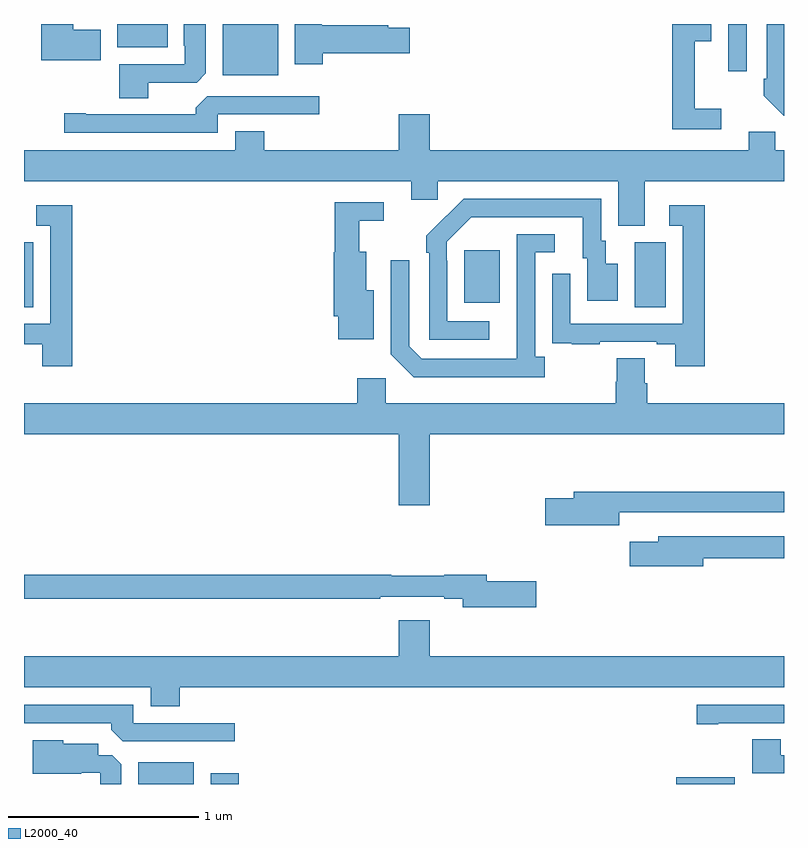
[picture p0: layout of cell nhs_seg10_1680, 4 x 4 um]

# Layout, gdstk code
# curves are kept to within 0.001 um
import gdstk
lib = gdstk.Library(unit=1e-6, precision=1e-09)
def R(c, l, rs):  # rectangles x0, y0, x1, y1
    for r in rs: c.add(gdstk.rectangle(r[:2], r[2:], *l))
def P(c, l, *ps):  # polygons
    for p in ps: c.add(gdstk.Polygon(p, *l))
L2000_40 = (2000, 40)

nhs_seg10_1680 = lib.new_cell('nhs_seg10_1680')
R(nhs_seg10_1680, L2000_40, [(199.601,1274.5,199.894,1274.614), (199.982,1274.5,200.129,1274.557), (202.433,1274.5,202.741,1274.536), (199,1277.008,199.048,1277.352), (202.214,1277.008,202.378,1277.352), (201.317,1277.033,201.505,1277.308), (200.045,1278.23,200.338,1278.5), (202.707,1278.252,202.803,1278.5), (199.49,1278.377,199.756,1278.5)])
P(nhs_seg10_1680, L2000_40, [(199.654,1278.192),(199.908,1278.192),(199.957,1278.241),(199.957,1278.5),(199.841,1278.5),(199.841,1278.385),(199.845,1278.385),(199.845,1278.288),(199.502,1278.288),(199.502,1278.109),(199.654,1278.109)],
  [(200.573,1278.347),(201.031,1278.347),(201.031,1278.481),(200.918,1278.481),(200.918,1278.494),(200.568,1278.494),(200.568,1278.5),(200.426,1278.5),(200.426,1278.288),(200.573,1278.288)],
  [(199.405,1278.471),(199.258,1278.471),(199.258,1278.5),(199.091,1278.5),(199.091,1278.308),(199.405,1278.308)],
  [(203,1278.5),(202.908,1278.5),(202.908,1278.211),(202.893,1278.211),(202.893,1278.123),(202.998,1278.018),(202.999,1278.019),(203,1278.018)],
  [(202.669,1278.055),(202.529,1278.055),(202.529,1278.41),(202.618,1278.41),(202.618,1278.5),(202.411,1278.5),(202.411,1277.946),(202.669,1277.946)],
  [(200.019,1278.024),(200.554,1278.024),(200.554,1278.12),(199.965,1278.12),(199.904,1278.058),(199.904,1278.024),(199.324,1278.024),(199.324,1278.029),(199.212,1278.029),(199.212,1277.928),(200.019,1277.928)],
  [(202.267,1277.672),(203,1277.672),(203,1277.836),(202.953,1277.836),(202.953,1277.934),(202.814,1277.934),(202.814,1277.836),(201.136,1277.836),(201.136,1278.025),(200.972,1278.025),(200.972,1277.836),(200.264,1277.836),(200.264,1277.935),(200.111,1277.935),(200.111,1277.836),(199,1277.836),(199,1277.672),(201.038,1277.672),(201.038,1277.574),(201.177,1277.574),(201.177,1277.672),(202.127,1277.672),(202.127,1277.437),(202.267,1277.437)],
  [(201.448,1276.935),(201.228,1276.935),(201.228,1277.255),(201.225,1277.255),(201.225,1277.355),(201.354,1277.484),(201.941,1277.484),(201.941,1277.268),(201.965,1277.268),(201.965,1277.043),(202.126,1277.043),(202.126,1277.239),(202.063,1277.239),(202.063,1277.358),(202.038,1277.358),(202.038,1277.58),(201.314,1277.58),(201.117,1277.385),(201.117,1277.297),(201.132,1277.297),(201.132,1276.839),(201.448,1276.839)],
  [(200.842,1277.098),(200.8,1277.098),(200.8,1277.302),(200.764,1277.302),(200.764,1277.465),(200.893,1277.465),(200.893,1277.562),(200.635,1277.562),(200.635,1277.298),(200.63,1277.298),(200.63,1276.962),(200.654,1276.962),(200.654,1276.841),(200.842,1276.841)],
  [(199.253,1277.545),(199.065,1277.545),(199.065,1277.439),(199.137,1277.439),(199.137,1276.923),(199,1276.923),(199,1276.827),(199.001,1276.827),(199.001,1276.815),(199.097,1276.815),(199.097,1276.698),(199.253,1276.698)],
  [(202.583,1277.545),(202.395,1277.545),(202.395,1277.439),(202.467,1277.439),(202.467,1276.923),(201.876,1276.923),(201.876,1277.185),(201.78,1277.185),(201.78,1276.93),(201.781,1276.93),(201.781,1276.821),(201.883,1276.821),(201.883,1276.815),(202.031,1276.815),(202.031,1276.827),(202.331,1276.827),(202.331,1276.815),(202.427,1276.815),(202.427,1276.698),(202.583,1276.698)],
  [(201.742,1276.75),(201.69,1276.75),(201.69,1277.298),(201.793,1277.298),(201.793,1277.394),(201.594,1277.394),(201.593,1276.737),(201.093,1276.737),(201.027,1276.803),(201.027,1277.257),(200.931,1277.257),(200.931,1276.761),(201.052,1276.64),(201.742,1276.64)],
  [(201.136,1276.34),(203,1276.34),(203,1276.504),(202.28,1276.504),(202.28,1276.61),(202.267,1276.61),(202.267,1276.742),(202.12,1276.742),(202.12,1276.617),(202.115,1276.617),(202.115,1276.504),(200.904,1276.504),(200.904,1276.636),(200.753,1276.636),(200.753,1276.504),(199,1276.504),(199,1276.34),(200.972,1276.34),(200.972,1275.966),(201.136,1275.966)],
  [(202.132,1275.93),(203,1275.93),(203,1276.039),(201.893,1276.039),(201.893,1276.005),(201.744,1276.005),(201.744,1275.863),(202.132,1275.863)],
  [(202.576,1275.688),(203,1275.688),(203,1275.804),(202.337,1275.804),(202.337,1275.775),(202.188,1275.775),(202.188,1275.646),(202.576,1275.646)],
  [(201.697,1275.566),(201.436,1275.566),(201.436,1275.602),(201.212,1275.602),(201.212,1275.595),(200.932,1275.595),(200.932,1275.602),(199,1275.602),(199,1275.474),(200.876,1275.474),(200.876,1275.486),(201.212,1275.486),(201.212,1275.474),(201.308,1275.474),(201.308,1275.431),(201.697,1275.431)],
  [(199.82,1275.008),(203,1275.008),(203,1275.172),(201.136,1275.172),(201.136,1275.361),(200.972,1275.361),(200.972,1275.172),(199,1275.172),(199,1275.008),(199.667,1275.008),(199.667,1274.909),(199.82,1274.909)],
  [(202.654,1274.82),(203,1274.82),(203,1274.916),(202.542,1274.916),(202.542,1274.815),(202.654,1274.815)],
  [(200.11,1274.82),(199.575,1274.82),(199.575,1274.916),(199,1274.916),(199,1274.82),(199.46,1274.82),(199.46,1274.786),(199.521,1274.724),(200.11,1274.724)],
  [(203,1274.652),(202.984,1274.652),(202.984,1274.735),(202.832,1274.735),(202.832,1274.556),(203,1274.556)],
  [(199.513,1274.603),(199.464,1274.652),(199.39,1274.652),(199.39,1274.713),(199.206,1274.713),(199.206,1274.731),(199.046,1274.731),(199.046,1274.555),(199.301,1274.555),(199.301,1274.559),(199.401,1274.559),(199.401,1274.5),(199.513,1274.5)])

lib.write_gds('nhs_seg10_1680.gds')
